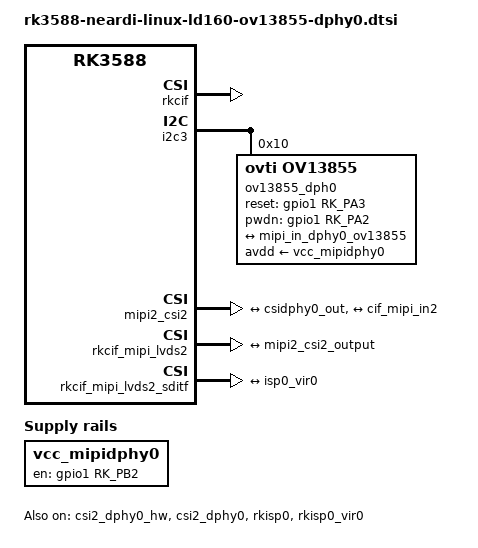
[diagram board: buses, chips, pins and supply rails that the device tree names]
// SPDX-License-Identifier: (GPL-2.0+ OR MIT)
/*
 * Copyright (c) 2021 Rockchip Electronics Co., Ltd.
 *
 */
 
 /*
 *
 *  sensor ->dphy0 ->csi-host2 -> vicp ->isp
 *
 *  Note:vicap logic out to xxx_sditf
 */
 
 /{
 	vcc_mipidphy0: vcc-mipidphy0-regulator {
		compatible = "regulator-fixed";
		gpio = <&gpio1 RK_PB2 GPIO_ACTIVE_HIGH>;
		pinctrl-names = "default";
		pinctrl-0 = <&mipidphy0_pwr>;
		regulator-name = "vcc_mipidphy0";
		enable-active-high;
		//regulator-always-on;
		//regulator-boot-on;
	};
 };
 /******    common   ******/
 &rkcif {
	status = "okay";
};

&rkcif_mmu {
	status = "okay";
};


 &i2c3 {
	status = "okay";
		ov13855_dph0: ov13855-dph0@10 {
		compatible = "ovti,ov13855";
		status = "okay";
		reg = <0x10>;
		clocks = <&cru CLK_MIPI_CAMARAOUT_M1>;
		clock-names = "xvclk";
		power-domains = <&power RK3588_PD_VI>;
		pinctrl-names = "default";
		pinctrl-0 = <&mipim0_camera1_clk >; //1b6
		rockchip,grf = <&sys_grf>;
		reset-gpios = <&gpio1 RK_PA3 GPIO_ACTIVE_HIGH>;
		pwdn-gpios = <&gpio1 RK_PA2 GPIO_ACTIVE_HIGH>;
		avdd-supply = <&vcc_mipidphy0>;
		rockchip,camera-module-index = <1>;
		rockchip,camera-module-facing = "front";
		rockchip,camera-module-name = "CMK-OT2016-FV1";
		rockchip,camera-module-lens-name = "default";
		port {
			ov13855_dphy0_out: endpoint {
				remote-endpoint = <&mipi_in_dphy0_ov13855>;
				data-lanes = <1 2 3 4>;
			};
		};
};
};

 
&csi2_dphy0_hw {
	status = "okay";
};


&csi2_dphy0 {
	status = "okay";
	
	ports {
		#address-cells = <1>;
		#size-cells = <0>;
		port@0 {
			reg = <0>;
			#address-cells = <1>;
			#size-cells = <0>;
			mipi_in_dphy0_ov13855: endpoint@1 {
				reg = <1>;
				remote-endpoint = <&ov13855_dphy0_out>;
				data-lanes = <1 2 3 4>;
			};
		};
		port@1 {
			reg = <1>;
			#address-cells = <1>;
			#size-cells = <0>;
			csidphy0_out: endpoint@0 {
				reg = <0>;
				remote-endpoint = <&mipi2_csi2_input>;
			};
		};
	};
	
};


&mipi2_csi2 {
	status = "okay";

	ports {
		#address-cells = <1>;
		#size-cells = <0>;
		port@0 {
			reg = <0>;
			#address-cells = <1>;
			#size-cells = <0>;
			mipi2_csi2_input: endpoint@1 {
				reg = <1>;
				remote-endpoint = <&csidphy0_out>;
			};
		};
		port@1 {
			reg = <1>;
			#address-cells = <1>;
			#size-cells = <0>;
			mipi2_csi2_output: endpoint@0 {
				reg = <0>;
				remote-endpoint = <&cif_mipi_in2>;
			};
		};
	};
};



&rkcif_mipi_lvds2 {
	status = "okay";

	port {
		cif_mipi_in2: endpoint {
			remote-endpoint = <&mipi2_csi2_output>;
		};
	};
};

&rkcif_mipi_lvds2_sditf {
	status = "okay";

	port {
		mipi_lvds_sditf: endpoint {
			remote-endpoint = <&isp0_vir0>;
		};
	};
};

/******  isp  unite mode    ******/
#if 0

&rkisp_unite {
	status = "okay";
};

&rkisp_unite_mmu {
	status = "okay";
};

&rkisp0_vir0{
	status = "okay";
	rockchip,hw=<&rkisp_unite>;
};

&rkisp0 {
	status = "disabled";
};

&isp0_mmu {
	status = "disabled";
};

&rkisp1 {
	status = "disabled";
};

&isp1_mmu {
	status = "disabled";
};


#else
/******  isp  normal mode    ******/

&rkisp0 {
	status = "okay";
};

&isp0_mmu {
	status = "okay";
};

#endif

/***   isp end  mode   ***/


&rkisp0_vir0 {
	status = "okay";
	port {
		#address-cells = <1>;
		#size-cells = <0>;
		isp0_vir0: endpoint@0 {
			reg = <0>;
			remote-endpoint = <&mipi_lvds_sditf>;
		};
	};
};

&pinctrl {
	cam {
		mipidphy0_pwr: mipidphy0-pwr {
			rockchip,pins =
				/* camera power en */
				<1 RK_PB2 RK_FUNC_GPIO &pcfg_pull_none>;
		};
		
		pwdn_gpio: pwdn-gpio {
			rockchip,pins =
				/* camera power en */
				<1 RK_PA2 RK_FUNC_GPIO &pcfg_pull_down_drv_level_15>;
		};
	};
};






